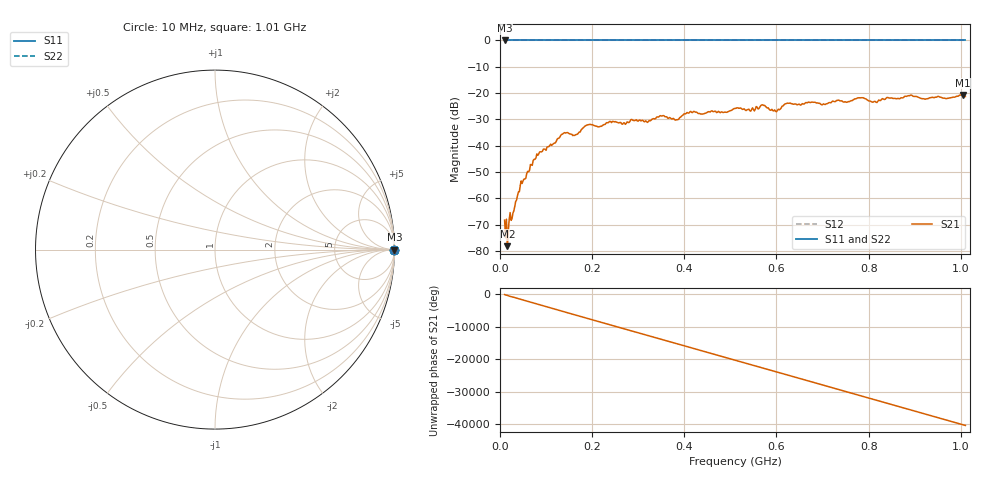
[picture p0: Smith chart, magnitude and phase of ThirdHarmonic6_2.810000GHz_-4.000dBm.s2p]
! 8/17/2025 7:22:21 AM
! C:\ANRITSUVNA\TEMP\TEMP.S2P
! CHANNEL.1
! TR.MEASUREMENT
! RAW.DATA
! RF.CORRECTION.OFF
! AVERAGING.OFF
! IF.BANDWIDTH: 5KHZ
! SWEEPTYPE:  FREQ.SWEEP(Linear)
! Reference Plane Port Info
! PORT:  PORT1  PORT2
! DISTANCE:  0  m  0  m
! TIME:  0  s  0  s
! PHASE.OFFSET:  0  deg.  0  deg.
! LOSS:  0  dB  0  dB
! REF.LOSS:  0  dB  0  dB
! REF.FREQ:  0  Hz  0  Hz
! Power Info
! POWER:  -20  dBm  -20  dBm
! EFF.POWER:  -20  dBm  -20  dBm
! SOURCE.ATTEN:  0  dB  0  dB
! TEST.ATTEN:  0  dB  0  dB
# GHZ S RI R 50.0
! FREQ.GHZ  S11RE  S11IM  S21RE  S21IM  S12RE  S12IM  S22RE  S22IM
!; PortSelection: Port_12
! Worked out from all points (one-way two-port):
!   501 points, 10 MHz to 1.01 GHz, reference 50 ohm
!   highest |S21| = -20.69 dB at 1.004 GHz (marker M1); lowest = -78.1 dB at 16 MHz (marker M2)
!   lowest |S11| = 0.0 dB at 10 MHz (marker M3)
!   |S11| at or under -10 dB: nowhere
!   |S22| runs from 0.0 to 0.0 dB; largest |S21 - S12| = 1.1
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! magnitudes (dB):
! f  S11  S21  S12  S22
! 10 MHz  0.0  -68.3  0.0  0.0
! 16 MHz  0.0  -78.1  0.0  0.0
! 42 MHz  0.0  -57.5  0.0  0.0
! 76 MHz  0.0  -45.2  0.0  0.0
! 136 MHz  0.0  -35.5  0.0  0.0
! 162 MHz  0.0  -36.1  0.0  0.0
! 178 MHz  0.0  -33.6  0.0  0.0
! 192 MHz  0.0  -32.0  0.0  0.0
! 318 MHz  0.0  -30.8  0.0  0.0
! 344 MHz  0.0  -29.1  0.0  0.0
! 384 MHz  0.0  -30.1  0.0  0.0
! 410 MHz  0.0  -27.6  0.0  0.0
! 510 MHz  0.0  -25.8  0.0  0.0
! 548 MHz  0.0  -25.6  0.0  0.0
! 570 MHz  0.0  -24.5  0.0  0.0
! 598 MHz  0.0  -26.9  0.0  0.0
! 622 MHz  0.0  -23.9  0.0  0.0
! 678 MHz  0.0  -23.4  0.0  0.0
! 814 MHz  0.0  -23.1  0.0  0.0
! 844 MHz  0.0  -21.9  0.0  0.0
! 1.004 GHz  0.0  -20.7  0.0  0.0
! 1.01 GHz  0.0  -21.3  0.0  0.0
